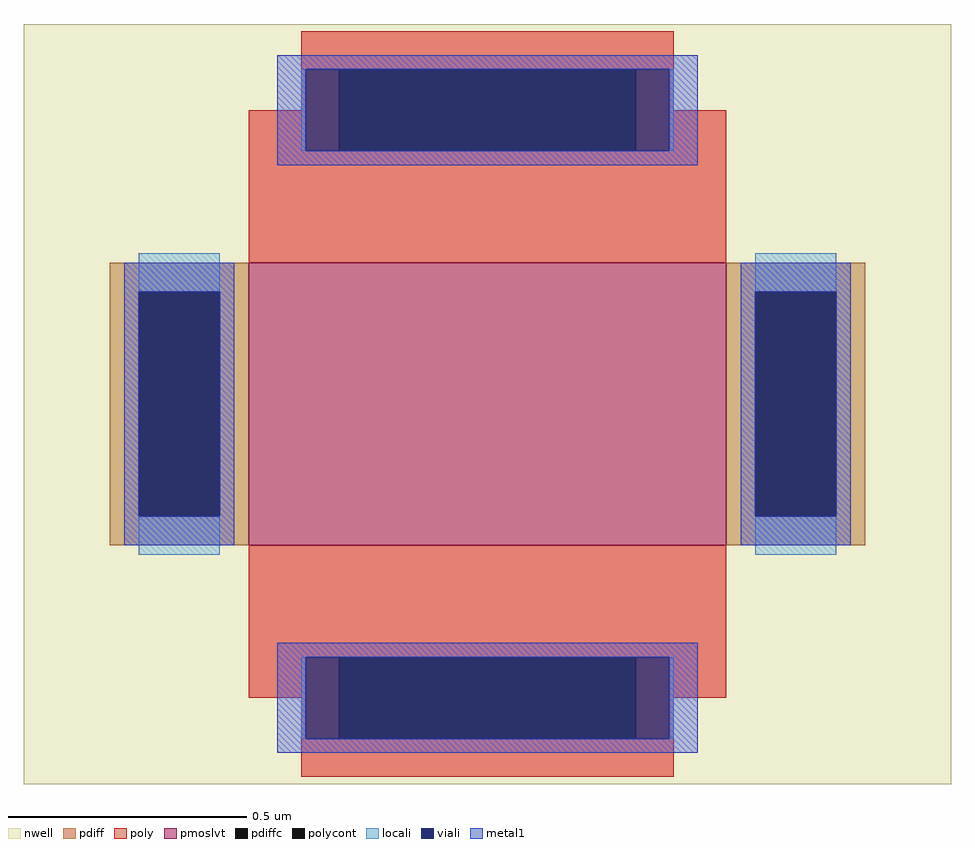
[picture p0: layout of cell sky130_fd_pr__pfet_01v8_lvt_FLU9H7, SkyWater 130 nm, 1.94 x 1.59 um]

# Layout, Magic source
magic
tech sky130A
magscale 1 2
<< nwell >>
rect -194 -159 194 159
<< pmoslvt >>
rect -100 -59 100 59
<< pdiff >>
rect -158 47 -100 59
rect -158 -47 -146 47
rect -112 -47 -100 47
rect -158 -59 -100 -47
rect 100 47 158 59
rect 100 -47 112 47
rect 146 -47 158 47
rect 100 -59 158 -47
<< pdiffc >>
rect -146 -47 -112 47
rect 112 -47 146 47
<< poly >>
rect -78 140 78 156
rect -78 123 -62 140
rect -100 106 -62 123
rect 62 123 78 140
rect 62 106 100 123
rect -100 59 100 106
rect -100 -106 100 -59
rect -100 -123 -62 -106
rect -78 -140 -62 -123
rect 62 -123 100 -106
rect 62 -140 78 -123
rect -78 -156 78 -140
<< polycont >>
rect -62 106 62 140
rect -62 -140 62 -106
<< locali >>
rect -78 106 -76 140
rect 76 106 78 140
rect -146 47 -112 63
rect -146 -63 -112 -47
rect 112 47 146 63
rect 112 -63 146 -47
rect -78 -140 -76 -106
rect 76 -140 78 -106
<< viali >>
rect -76 106 -62 140
rect -62 106 62 140
rect 62 106 76 140
rect -146 -47 -112 47
rect 112 -47 146 47
rect -76 -140 -62 -106
rect -62 -140 62 -106
rect 62 -140 76 -106
<< metal1 >>
rect -88 140 88 146
rect -88 106 -76 140
rect 76 106 88 140
rect -88 100 88 106
rect -152 47 -106 59
rect -152 -47 -146 47
rect -112 -47 -106 47
rect -152 -59 -106 -47
rect 106 47 152 59
rect 106 -47 112 47
rect 146 -47 152 47
rect 106 -59 152 -47
rect -88 -106 88 -100
rect -88 -140 -76 -106
rect 76 -140 88 -106
rect -88 -146 88 -140
<< properties >>
string gencell sky130_fd_pr__pfet_01v8_lvt
string library sky130
string parameters w 0.59 l 1.0 m 1 nf 1 diffcov 100 polycov 74 guard 0 glc 1 grc 1 gtc 1 gbc 1 tbcov 100 rlcov 100 topc 1 botc 1 poverlap 0 doverlap 1 lmin 0.35 wmin 0.42 class mosfet compatible {sky130_fd_pr__pfet_01v8  sky130_fd_pr__pfet_01v8_lvt sky130_fd_pr__pfet_01v8_hvt  sky130_fd_pr__pfet_g5v0d10v5} full_metal 1 viasrc 100 viadrn 100 viagate 90 viagb 0 viagr 0 viagl 0 viagt 0
<< end >>
